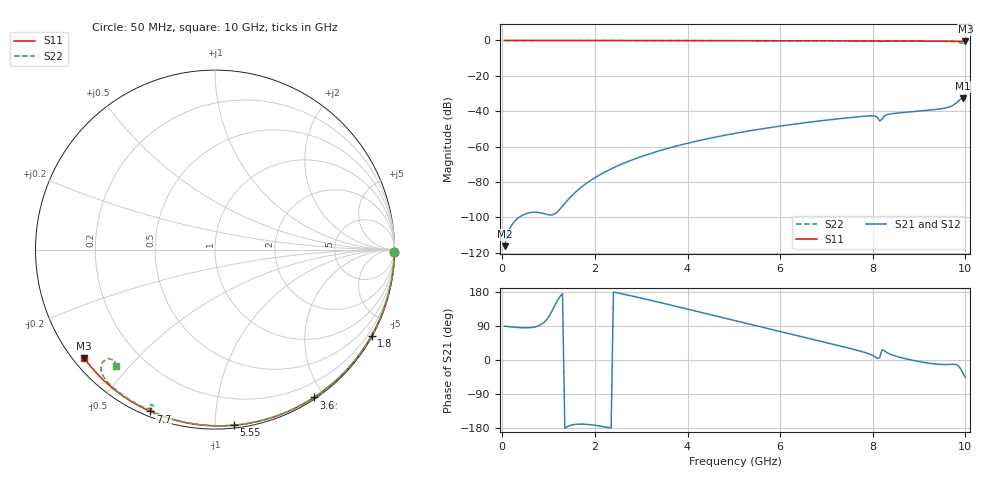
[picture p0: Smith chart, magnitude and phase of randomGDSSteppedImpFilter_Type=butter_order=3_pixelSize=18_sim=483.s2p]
! freq	dB(S11)	phase(S11)	dB(S12)	phase(S12)
!  dB(S21)	phase(S21)	dB(S22)	phase(S22)
!S-par simulation data
#  GHz  S  DB  R 50
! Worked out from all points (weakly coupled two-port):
!   200 points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, 50 MHz to 10 GHz, reference 50 ohm
!   highest |S21| = -32.60 dB at 9.95 GHz (marker M1); lowest = -116.3 dB at 50 MHz (marker M2)
!   lowest |S11| = -0.5 dB at 10 GHz (marker M3), VSWR 37.34, Z = 1.51 - j18 ohm
!   |S11| at or under -10 dB: nowhere
!   |S22| runs from -1.6 to 0.0 dB; largest |S21 - S12| = 0
!   S11 on the Smith chart (normalised r, x): 50 MHz: open; 1.8 GHz: 0.03, -3.90; 3.6 GHz: 0.02, -1.87; 5.55 GHz: 0.02, -1.11; 7.7 GHz: 0.02, -0.68; 10 GHz: 0.03, -0.36
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0.05  -0.00 -0.8  -116.31 89.3  -116.31 89.3  -0.00 -0.8
0.9  -0.02 -14.5  -97.90 99.0  -97.90 99.0  -0.02 -13.8
1.75  -0.04 -28.0  -82.07 -169.3  -82.07 -169.3  -0.03 -26.5
1.8  -0.04 -28.8  -81.09 -169.6  -81.09 -169.6  -0.03 -27.3
1.85  -0.04 -29.6  -80.16 -170.1  -80.16 -170.1  -0.04 -28.0
2.55  -0.05 -40.4  -70.23 175.5  -70.23 175.5  -0.05 -38.3
3.4  -0.07 -53.2  -62.32 151.9  -62.32 151.9  -0.07 -50.5
3.6  -0.08 -56.2  -60.82 146.1  -60.82 146.1  -0.07 -53.3
5.05  -0.12 -76.9  -52.40 103.2  -52.40 103.2  -0.11 -73.0
5.55  -0.14 -83.8  -50.19 88.3  -50.19 88.3  -0.13 -79.6
6.7  -0.19 -99.0  -45.98 54.5  -45.98 54.5  -0.18 -94.2
7.7  -0.26 -111.8  -43.10 24.5  -43.10 24.5  -0.25 -106.6
8.05  -0.28 -116.2  -42.78 8.3  -42.78 8.3  -0.34 -111.5
8.1  -0.29 -116.8  -43.45 3.8  -43.45 3.8  -0.43 -112.4
8.15  -0.29 -117.4  -45.57 6.7  -45.57 6.7  -0.61 -112.5
8.25  -0.30 -118.7  -42.67 24.4  -42.67 24.4  -0.42 -111.8
8.35  -0.31 -119.9  -41.67 16.7  -41.67 16.7  -0.33 -113.4
9.55  -0.42 -134.7  -38.29 -12.0  -38.29 -12.0  -0.46 -129.4
9.7  -0.44 -136.6  -37.08 -11.3  -37.08 -11.3  -0.57 -132.1
9.8  -0.45 -137.8  -35.41 -12.2  -35.41 -12.2  -0.82 -134.3
9.95  -0.46 -139.6  -32.60 -35.3  -32.60 -35.3  -1.57 -132.2
10  -0.47 -140.3  -33.00 -46.0  -33.00 -46.0  -1.39 -130.3
